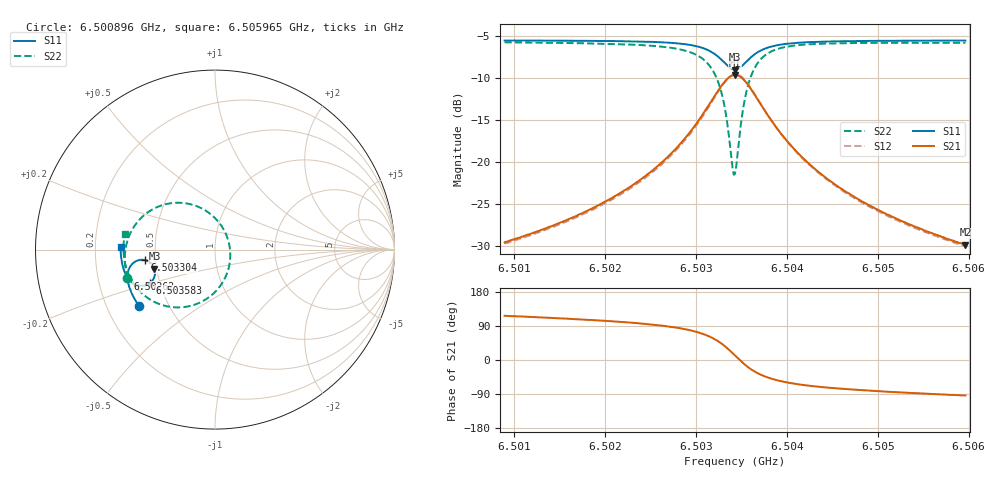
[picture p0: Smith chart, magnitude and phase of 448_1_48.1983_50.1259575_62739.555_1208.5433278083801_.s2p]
#  HZ  S  RI  R  50.00
! Rohde & Schwarz Vector Network Analyzer
! Rohde-Schwarz,ZNB20-2Port,1311601062101988,3.16
! Created: UTC 3/20/2024, 11:56:07 AM
! freq[Hz]  re:S11  im:S11  re:S21  im:S21  re:S12  im:S12  re:S22  im:S22
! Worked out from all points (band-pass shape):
!   401 points, 6.500896 GHz to 6.505965 GHz, reference 50 ohm
!   highest |S21| = -9.66 dB at 6.503431 GHz (marker M1); lowest = -29.9 dB at 6.505965 GHz (marker M2)
!   |S21| within 3 dB of the highest: 6.503178 GHz to 6.503685 GHz (506.3 kHz wide, 0.00779 % of centre)
!   lowest |S11| = -9.0 dB at 6.503431 GHz (marker M3), VSWR 2.09, Z = 24.3 - j5.94 ohm
!   |S11| at or under -10 dB: nowhere
!   |S22| runs from -21.5 to -5.8 dB; largest |S21 - S12| = 0.011
!   S11 on the Smith chart (normalised r, x): 6.500896 GHz: 0.34, -0.29; 6.50262 GHz: 0.33, -0.15; 6.503304 GHz: 0.44, -0.06; 6.503583 GHz: 0.44, -0.20; 6.505965 GHz: 0.31, +0.01
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6.5008961e9  -0.4239 -0.3124  -0.0149 0.0297  -0.0132 0.0298  -0.4878 -0.1601
6.5017452e9  -0.4608 -0.2501  -0.0144 0.0472  -0.012 0.0469  -0.502 -0.0705
6.5022268e9  -0.4778 -0.2076  -0.0114 0.0673  -0.00838 0.0663  -0.4992 -0.00241
6.5025943e9  -0.4867 -0.167  -0.00256 0.0957  0.000942 0.0935  -0.4807 0.0705
6.5026197e9  -0.4869 -0.1638  -0.00165 0.0987  0.00222 0.0962  -0.4782 0.0766
6.5029112e9  -0.4834 -0.1193  0.0255 0.1423  0.0292 0.1378  -0.4221 0.1656
6.5031013e9  -0.4624 -0.081  0.0792 0.1843  0.0816 0.1782  -0.3195 0.238
6.5032153e9  -0.43 -0.0602  0.1479 0.2021  0.1486 0.1959  -0.1959 0.261
6.503304e9  -0.3898 -0.0584  0.227 0.1863  0.2275 0.1812  -0.0591 0.2216
6.5033421e9  -0.3705 -0.0658  0.2634 0.1635  0.2643 0.1589  0.000781 0.1749
6.5034054e9  -0.3435 -0.0925  0.3113 0.0998  0.314 0.0949  0.0734 0.0527
6.5034308e9  -0.3372 -0.107  0.3217 0.0675  0.3251 0.0618  0.0846 -0.00747
6.5034561e9  -0.3341 -0.1227  0.3255 0.0339  0.329 0.0271  0.0829 -0.0688
6.5035195e9  -0.341 -0.1599  0.3076 -0.044  0.3097 -0.0541  0.0278 -0.2043
6.5035829e9  -0.3622 -0.1859  0.2646 -0.0984  0.2637 -0.1096  -0.0687 -0.2876
6.5036842e9  -0.4019 -0.2014  0.19 -0.1346  0.1848 -0.1443  -0.2187 -0.3219
6.503849e9  -0.448 -0.1917  0.1084 -0.1317  0.1015 -0.1367  -0.3659 -0.2757
6.5040264e9  -0.4755 -0.1703  0.0638 -0.1116  0.0576 -0.1139  -0.438 -0.2109
6.5042799e9  -0.4961 -0.1403  0.034 -0.0874  0.0291 -0.0879  -0.4813 -0.1387
6.5046601e9  -0.5118 -0.101  0.0151 -0.0642  0.0117 -0.0639  -0.5038 -0.064
6.505129e9  -0.5212 -0.0576  0.00509 -0.0479  0.00281 -0.0471  -0.5099 0.00163
6.5059654e9  -0.5259 0.0131  -0.00207 -0.0321  -0.00337 -0.0313  -0.5021 0.0896
